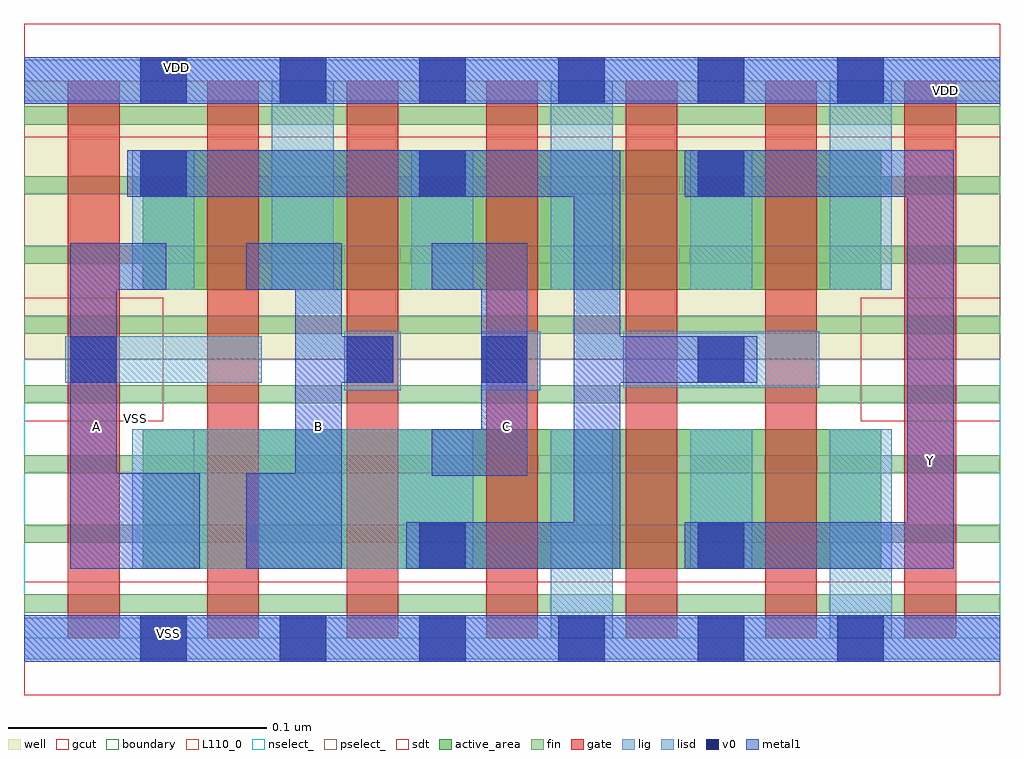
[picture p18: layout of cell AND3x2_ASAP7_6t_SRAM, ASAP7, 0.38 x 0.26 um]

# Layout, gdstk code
import gdstk
lib = gdstk.Library(unit=1e-6, precision=2.5e-10)
def R(c, l, rs):  # rectangles x0, y0, x1, y1
    for r in rs: c.add(gdstk.rectangle(r[:2], r[2:], *l))
def A(c, l, x, y, w, h, nx, ny, dx, dy):  # array of equal rectangles
    R(c, l, [(x+i*dx, y+j*dy, x+i*dx+w, y+j*dy+h) for i in range(nx) for j in range(ny)])
def P(c, l, *ps):  # polygons
    for p in ps: c.add(gdstk.Polygon(p, *l))
well = (1, 0)
fin = (2, 0)
gate = (7, 0)
gcut = (10, 0)
active_area = (11, 0)
nselect_ = (12, 0)
pselect_ = (13, 0)
lig = (16, 0)
lisd = (17, 0)
v0 = (18, 0)
metal1 = (19, 0)
sdt = (88, 0)
boundary = (100, 0)
L110_0 = (110, 0)

and3x2_asap7_6t_sram = lib.new_cell('AND3x2_ASAP7_6t_SRAM')
R(and3x2_asap7_6t_sram, well, [(0,0.108,0.378,0.216)])
A(and3x2_asap7_6t_sram, fin, 0, 0.01, 0.378, 0.007, 1, 7, 0, 0.027)
R(and3x2_asap7_6t_sram, fin, [(0,0.172,0.378,0.179), (0,0.199,0.378,0.206), (0,0.199,0.378,0.206)])
A(and3x2_asap7_6t_sram, gate, 0.017, 0, 0.02, 0.216, 7, 1, 0.054, 0)
R(and3x2_asap7_6t_sram, gcut, [(0,-0.022,0.378,0.022), (0,0.084,0.054,0.132), (0.324,0.084,0.378,0.132), (0,0.194,0.378,0.238)])
R(and3x2_asap7_6t_sram, active_area, [(0.046,0.027,0.332,0.081), (0.046,0.135,0.332,0.189)])
R(and3x2_asap7_6t_sram, nselect_, [(0,0,0.378,0.108)])
R(and3x2_asap7_6t_sram, pselect_, [(0,0.108,0.378,0.216)])
R(and3x2_asap7_6t_sram, lig, [(0,-0.008,0.378,0.008), (0.124,0.096,0.146,0.119), (0.177,0.096,0.2,0.119), (0.232,0.097,0.308,0.119), (0.016,0.099,0.092,0.117), (0,0.208,0.378,0.224)])
A(and3x2_asap7_6t_sram, lisd, 0.042, 0.135, 0.024, 0.054, 3, 1, 0.108, 0)
A(and3x2_asap7_6t_sram, lisd, 0.096, 0.135, 0.024, 0.081, 3, 1, 0.108, 0)
R(and3x2_asap7_6t_sram, lisd, [(0.204,0,0.228,0.081), (0.312,0,0.336,0.081), (0.042,0.027,0.174,0.081), (0.258,0.027,0.282,0.081)])
A(and3x2_asap7_6t_sram, v0, 0.045, -0.009, 0.018, 0.018, 6, 2, 0.054, 0.216)
A(and3x2_asap7_6t_sram, v0, 0.045, 0.171, 0.018, 0.018, 3, 1, 0.108, 0)
R(and3x2_asap7_6t_sram, v0, [(0.153,0.027,0.171,0.045), (0.261,0.027,0.279,0.045), (0.018,0.099,0.036,0.117), (0.125,0.099,0.143,0.117), (0.177,0.099,0.195,0.117), (0.261,0.099,0.279,0.117)])
R(and3x2_asap7_6t_sram, metal1, [(0,-0.009,0.378,0.009), (0,0.207,0.378,0.225)])
P(and3x2_asap7_6t_sram, metal1, [(0.055,0.135),(0.036,0.135),(0.036,0.064),(0.068,0.064),(0.068,0.027),(0.018,0.027),(0.018,0.153),(0.055,0.153)],
  [(0.143,0.099),(0.123,0.099),(0.123,0.027),(0.086,0.027),(0.086,0.064),(0.105,0.064),(0.105,0.135),(0.086,0.135),(0.086,0.153),(0.123,0.153),(0.123,0.117),(0.143,0.117)],
  [(0.284,0.099),(0.231,0.099),(0.231,0.027),(0.148,0.027),(0.148,0.045),(0.213,0.045),(0.213,0.171),(0.04,0.171),(0.04,0.189),(0.231,0.189),(0.231,0.117),(0.284,0.117)],
  [(0.195,0.063),(0.158,0.063),(0.158,0.081),(0.177,0.081),(0.177,0.135),(0.158,0.135),(0.158,0.153),(0.195,0.153)],
  [(0.36,0.027),(0.256,0.027),(0.256,0.045),(0.342,0.045),(0.342,0.171),(0.256,0.171),(0.256,0.189),(0.36,0.189)])
A(and3x2_asap7_6t_sram, sdt, 0.204, 0.027, 0.024, 0.054, 3, 1, 0.054, 0)
A(and3x2_asap7_6t_sram, sdt, 0.042, 0.135, 0.024, 0.054, 6, 1, 0.054, 0)
R(and3x2_asap7_6t_sram, sdt, [(0.042,0.027,0.066,0.081)])
R(and3x2_asap7_6t_sram, boundary, [(0,0,0.378,0.216)])
R(and3x2_asap7_6t_sram, L110_0, [(0,0,0.378,0.216)])
and3x2_asap7_6t_sram.add(gdstk.Label('VSS', (0.056,0.002), layer=19, texttype=251))
and3x2_asap7_6t_sram.add(gdstk.Label('VDD', (0.059,0.221), layer=19, texttype=251))
and3x2_asap7_6t_sram.add(gdstk.Label('B', (0.114,0.082), layer=19, texttype=251))
and3x2_asap7_6t_sram.add(gdstk.Label('A', (0.028,0.082), layer=19, texttype=251))
and3x2_asap7_6t_sram.add(gdstk.Label('Y', (0.351,0.069), layer=19, texttype=251))
and3x2_asap7_6t_sram.add(gdstk.Label('C', (0.187,0.082), layer=19, texttype=251))
and3x2_asap7_6t_sram.add(gdstk.Label('VDD', (0.357,0.212), layer=1, texttype=251))
and3x2_asap7_6t_sram.add(gdstk.Label('VSS', (0.043,0.085), layer=3, texttype=251))

lib.write_gds('AND3x2_ASAP7_6t_SRAM.gds')
